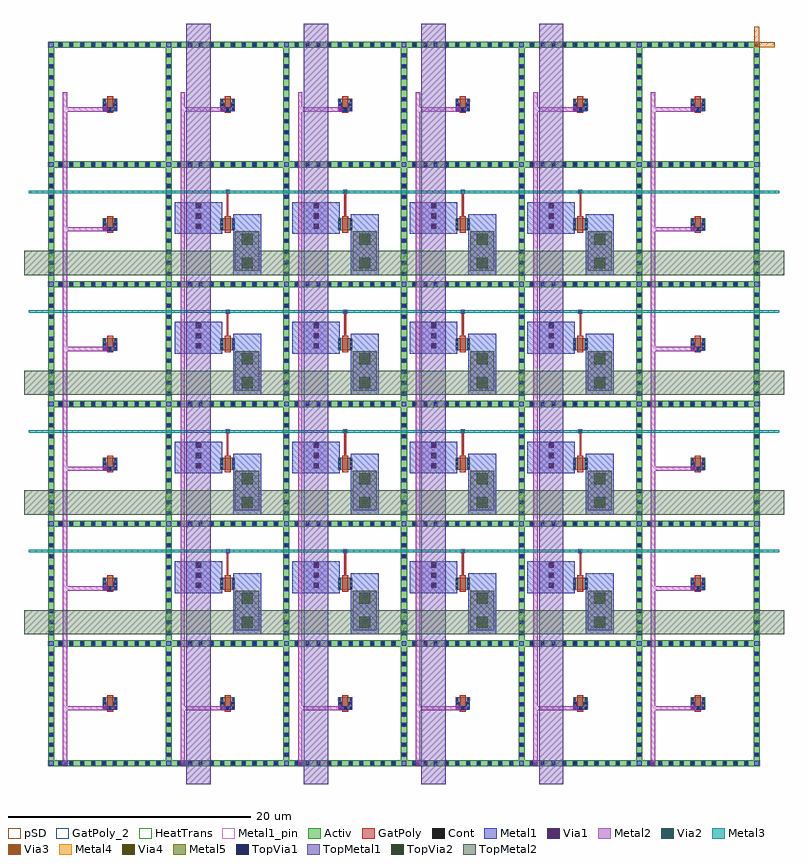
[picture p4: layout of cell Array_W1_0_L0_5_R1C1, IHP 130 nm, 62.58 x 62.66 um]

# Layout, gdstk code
import gdstk
lib = gdstk.Library(unit=1e-6, precision=1e-09)
def R(c, l, rs):  # rectangles x0, y0, x1, y1
    for r in rs: c.add(gdstk.rectangle(r[:2], r[2:], *l))
def A(c, l, x, y, w, h, nx, ny, dx, dy):  # array of equal rectangles
    R(c, l, [(x+i*dx, y+j*dy, x+i*dx+w, y+j*dy+h) for i in range(nx) for j in range(ny)])
Activ = (1, 0)
GatPoly = (5, 0)
GatPoly_2 = (5, 2)
Cont = (6, 0)
Metal1 = (8, 0)
Metal1_pin = (8, 2)
Metal2 = (10, 0)
pSD = (14, 0)
Via1 = (19, 0)
Via2 = (29, 0)
Metal3 = (30, 0)
Via3 = (49, 0)
Metal4 = (50, 0)
HeatTrans = (51, 0)
Via4 = (66, 0)
Metal5 = (67, 0)
TopVia1 = (125, 0)
TopMetal1 = (126, 0)
TopVia2 = (133, 0)
TopMetal2 = (134, 0)

array_w1_0_l0_5_r1c1 = lib.new_cell('Array_W1_0_L0_5_R1C1')
A(array_w1_0_l0_5_r1c1, Activ, 0, 0, 0.5, 59.66, 7, 1, 9.68, 0)
A(array_w1_0_l0_5_r1c1, Activ, 0, 0, 58.58, 0.5, 1, 7, 0, 9.86)
A(array_w1_0_l0_5_r1c1, Activ, 4.5, 4.68, 0.3, 0.3, 1, 6, 0, 9.86)
A(array_w1_0_l0_5_r1c1, Activ, 4.5, 4.68, 1.18, 1, 6, 6, 9.68, 9.86)
A(array_w1_0_l0_5_r1c1, Activ, 5.38, 4.68, 0.3, 0.3, 1, 6, 0, 9.86)
A(array_w1_0_l0_5_r1c1, Activ, 14.18, 4.68, 0.3, 0.3, 1, 6, 0, 9.86)
A(array_w1_0_l0_5_r1c1, Activ, 15.06, 4.68, 0.3, 0.3, 1, 6, 0, 9.86)
A(array_w1_0_l0_5_r1c1, Activ, 23.86, 4.68, 0.3, 0.3, 1, 6, 0, 9.86)
A(array_w1_0_l0_5_r1c1, Activ, 24.74, 4.68, 0.3, 0.3, 1, 6, 0, 9.86)
A(array_w1_0_l0_5_r1c1, Activ, 33.54, 4.68, 0.3, 0.3, 1, 6, 0, 9.86)
A(array_w1_0_l0_5_r1c1, Activ, 34.42, 4.68, 0.3, 0.3, 1, 6, 0, 9.86)
A(array_w1_0_l0_5_r1c1, Activ, 43.22, 4.68, 0.3, 0.3, 1, 6, 0, 9.86)
A(array_w1_0_l0_5_r1c1, Activ, 44.1, 4.68, 0.3, 0.3, 1, 6, 0, 9.86)
A(array_w1_0_l0_5_r1c1, Activ, 52.9, 4.68, 0.3, 0.3, 1, 6, 0, 9.86)
A(array_w1_0_l0_5_r1c1, Activ, 53.78, 4.68, 0.3, 0.3, 1, 6, 0, 9.86)
A(array_w1_0_l0_5_r1c1, GatPoly, 4.84, 4.5, 0.5, 1.36, 6, 6, 9.68, 9.86)
A(array_w1_0_l0_5_r1c1, GatPoly, 5.025, 4.78, 0.13, 0.2, 6, 2, 9.68, 49.3)
A(array_w1_0_l0_5_r1c1, GatPoly, 5.025, 14.64, 0.13, 0.2, 1, 4, 0, 9.86)
A(array_w1_0_l0_5_r1c1, GatPoly, 53.425, 14.64, 0.13, 0.2, 1, 4, 0, 9.86)
A(array_w1_0_l0_5_r1c1, GatPoly, 14.705, 15.72, 0.13, 2, 4, 4, 9.68, 9.86)
A(array_w1_0_l0_5_r1c1, GatPoly_2, 4.84, 4.5, 0.5, 1.36, 6, 6, 9.68, 9.86)
A(array_w1_0_l0_5_r1c1, Cont, 0.896, 0.14, 0.22, 0.22, 10, 7, 0.896, 9.86)
A(array_w1_0_l0_5_r1c1, Cont, 10.68, 0.14, 0.22, 0.22, 3, 7, 0.884, 9.86)
A(array_w1_0_l0_5_r1c1, Cont, 13.333, 0.14, 0.22, 0.22, 1, 7, 0, 9.86)
A(array_w1_0_l0_5_r1c1, Cont, 14.217, 0.14, 0.22, 0.22, 1, 7, 0, 9.86)
A(array_w1_0_l0_5_r1c1, Cont, 15.102, 0.14, 0.22, 0.22, 1, 7, 0, 9.86)
A(array_w1_0_l0_5_r1c1, Cont, 15.986, 0.14, 0.22, 0.22, 1, 7, 0, 9.86)
A(array_w1_0_l0_5_r1c1, Cont, 16.871, 0.14, 0.22, 0.22, 1, 7, 0, 9.86)
A(array_w1_0_l0_5_r1c1, Cont, 17.755, 0.14, 0.22, 0.22, 1, 7, 0, 9.86)
A(array_w1_0_l0_5_r1c1, Cont, 18.64, 0.14, 0.22, 0.22, 1, 7, 0, 9.86)
A(array_w1_0_l0_5_r1c1, Cont, 20.36, 0.14, 0.22, 0.22, 3, 7, 0.884, 9.86)
A(array_w1_0_l0_5_r1c1, Cont, 23.013, 0.14, 0.22, 0.22, 1, 7, 0, 9.86)
A(array_w1_0_l0_5_r1c1, Cont, 23.897, 0.14, 0.22, 0.22, 1, 7, 0, 9.86)
A(array_w1_0_l0_5_r1c1, Cont, 24.782, 0.14, 0.22, 0.22, 1, 7, 0, 9.86)
A(array_w1_0_l0_5_r1c1, Cont, 25.666, 0.14, 0.22, 0.22, 1, 7, 0, 9.86)
A(array_w1_0_l0_5_r1c1, Cont, 26.551, 0.14, 0.22, 0.22, 1, 7, 0, 9.86)
A(array_w1_0_l0_5_r1c1, Cont, 27.435, 0.14, 0.22, 0.22, 1, 7, 0, 9.86)
A(array_w1_0_l0_5_r1c1, Cont, 28.32, 0.14, 0.22, 0.22, 1, 7, 0, 9.86)
A(array_w1_0_l0_5_r1c1, Cont, 30.04, 0.14, 0.22, 0.22, 3, 7, 0.884, 9.86)
A(array_w1_0_l0_5_r1c1, Cont, 32.693, 0.14, 0.22, 0.22, 1, 7, 0, 9.86)
A(array_w1_0_l0_5_r1c1, Cont, 33.577, 0.14, 0.22, 0.22, 1, 7, 0, 9.86)
A(array_w1_0_l0_5_r1c1, Cont, 34.462, 0.14, 0.22, 0.22, 1, 7, 0, 9.86)
A(array_w1_0_l0_5_r1c1, Cont, 35.346, 0.14, 0.22, 0.22, 1, 7, 0, 9.86)
A(array_w1_0_l0_5_r1c1, Cont, 36.231, 0.14, 0.22, 0.22, 1, 7, 0, 9.86)
A(array_w1_0_l0_5_r1c1, Cont, 37.115, 0.14, 0.22, 0.22, 1, 7, 0, 9.86)
A(array_w1_0_l0_5_r1c1, Cont, 38, 0.14, 0.22, 0.22, 1, 7, 0, 9.86)
A(array_w1_0_l0_5_r1c1, Cont, 39.72, 0.14, 0.22, 0.22, 3, 7, 0.884, 9.86)
A(array_w1_0_l0_5_r1c1, Cont, 42.373, 0.14, 0.22, 0.22, 1, 7, 0, 9.86)
A(array_w1_0_l0_5_r1c1, Cont, 43.257, 0.14, 0.22, 0.22, 1, 7, 0, 9.86)
A(array_w1_0_l0_5_r1c1, Cont, 44.142, 0.14, 0.22, 0.22, 1, 7, 0, 9.86)
A(array_w1_0_l0_5_r1c1, Cont, 45.026, 0.14, 0.22, 0.22, 1, 7, 0, 9.86)
A(array_w1_0_l0_5_r1c1, Cont, 45.911, 0.14, 0.22, 0.22, 1, 7, 0, 9.86)
A(array_w1_0_l0_5_r1c1, Cont, 46.795, 0.14, 0.22, 0.22, 1, 7, 0, 9.86)
A(array_w1_0_l0_5_r1c1, Cont, 47.68, 0.14, 0.22, 0.22, 1, 7, 0, 9.86)
A(array_w1_0_l0_5_r1c1, Cont, 49.4, 0.14, 0.22, 0.22, 3, 7, 0.884, 9.86)
A(array_w1_0_l0_5_r1c1, Cont, 52.053, 0.14, 0.22, 0.22, 1, 7, 0, 9.86)
A(array_w1_0_l0_5_r1c1, Cont, 52.937, 0.14, 0.22, 0.22, 1, 7, 0, 9.86)
A(array_w1_0_l0_5_r1c1, Cont, 53.822, 0.14, 0.22, 0.22, 1, 7, 0, 9.86)
A(array_w1_0_l0_5_r1c1, Cont, 54.706, 0.14, 0.22, 0.22, 1, 7, 0, 9.86)
A(array_w1_0_l0_5_r1c1, Cont, 55.591, 0.14, 0.22, 0.22, 1, 7, 0, 9.86)
A(array_w1_0_l0_5_r1c1, Cont, 56.475, 0.14, 0.22, 0.22, 1, 7, 0, 9.86)
A(array_w1_0_l0_5_r1c1, Cont, 57.36, 0.14, 0.22, 0.22, 1, 7, 0, 9.86)
A(array_w1_0_l0_5_r1c1, Cont, 0.14, 0.83, 0.22, 0.22, 7, 11, 9.68, 0.831)
A(array_w1_0_l0_5_r1c1, Cont, 4.98, 4.67, 0.22, 0.22, 6, 2, 9.68, 49.3)
A(array_w1_0_l0_5_r1c1, Cont, 4.57, 4.75, 0.16, 0.16, 1, 3, 0, 0.35)
A(array_w1_0_l0_5_r1c1, Cont, 5.45, 4.75, 0.16, 0.16, 1, 3, 0, 0.35)
A(array_w1_0_l0_5_r1c1, Cont, 14.25, 4.75, 0.16, 0.16, 1, 3, 0, 0.35)
A(array_w1_0_l0_5_r1c1, Cont, 15.13, 4.75, 0.16, 0.16, 1, 3, 0, 0.35)
A(array_w1_0_l0_5_r1c1, Cont, 23.93, 4.75, 0.16, 0.16, 1, 3, 0, 0.35)
A(array_w1_0_l0_5_r1c1, Cont, 24.81, 4.75, 0.16, 0.16, 1, 3, 0, 0.35)
A(array_w1_0_l0_5_r1c1, Cont, 33.61, 4.75, 0.16, 0.16, 1, 3, 0, 0.35)
A(array_w1_0_l0_5_r1c1, Cont, 34.49, 4.75, 0.16, 0.16, 1, 3, 0, 0.35)
A(array_w1_0_l0_5_r1c1, Cont, 43.29, 4.75, 0.16, 0.16, 1, 3, 0, 0.35)
A(array_w1_0_l0_5_r1c1, Cont, 44.17, 4.75, 0.16, 0.16, 1, 3, 0, 0.35)
A(array_w1_0_l0_5_r1c1, Cont, 52.97, 4.75, 0.16, 0.16, 1, 3, 0, 0.35)
A(array_w1_0_l0_5_r1c1, Cont, 53.85, 4.75, 0.16, 0.16, 1, 3, 0, 0.35)
A(array_w1_0_l0_5_r1c1, Cont, 0.14, 10.86, 0.22, 0.22, 7, 3, 9.68, 0.904)
A(array_w1_0_l0_5_r1c1, Cont, 0.14, 13.573, 0.22, 0.22, 7, 2, 9.68, 0.904)
A(array_w1_0_l0_5_r1c1, Cont, 4.98, 14.53, 0.22, 0.22, 1, 4, 0, 9.86)
A(array_w1_0_l0_5_r1c1, Cont, 53.38, 14.53, 0.22, 0.22, 1, 4, 0, 9.86)
A(array_w1_0_l0_5_r1c1, Cont, 4.57, 14.61, 0.16, 0.16, 1, 3, 0, 0.35)
A(array_w1_0_l0_5_r1c1, Cont, 5.45, 14.61, 0.16, 0.16, 1, 3, 0, 0.35)
A(array_w1_0_l0_5_r1c1, Cont, 14.25, 14.61, 0.16, 0.16, 1, 3, 0, 0.35)
A(array_w1_0_l0_5_r1c1, Cont, 15.13, 14.61, 0.16, 0.16, 1, 3, 0, 0.35)
A(array_w1_0_l0_5_r1c1, Cont, 23.93, 14.61, 0.16, 0.16, 1, 3, 0, 0.35)
A(array_w1_0_l0_5_r1c1, Cont, 24.81, 14.61, 0.16, 0.16, 1, 3, 0, 0.35)
A(array_w1_0_l0_5_r1c1, Cont, 33.61, 14.61, 0.16, 0.16, 1, 3, 0, 0.35)
A(array_w1_0_l0_5_r1c1, Cont, 34.49, 14.61, 0.16, 0.16, 1, 3, 0, 0.35)
A(array_w1_0_l0_5_r1c1, Cont, 43.29, 14.61, 0.16, 0.16, 1, 3, 0, 0.35)
A(array_w1_0_l0_5_r1c1, Cont, 44.17, 14.61, 0.16, 0.16, 1, 3, 0, 0.35)
A(array_w1_0_l0_5_r1c1, Cont, 52.97, 14.61, 0.16, 0.16, 1, 3, 0, 0.35)
A(array_w1_0_l0_5_r1c1, Cont, 53.85, 14.61, 0.16, 0.16, 1, 3, 0, 0.35)
A(array_w1_0_l0_5_r1c1, Cont, 0.14, 15.382, 0.22, 0.22, 7, 2, 9.68, 0.904)
A(array_w1_0_l0_5_r1c1, Cont, 0.14, 17.191, 0.22, 0.22, 7, 2, 9.68, 0.904)
A(array_w1_0_l0_5_r1c1, Cont, 14.66, 17.61, 0.22, 0.22, 4, 4, 9.68, 9.86)
A(array_w1_0_l0_5_r1c1, Cont, 0.14, 19, 0.22, 0.22, 7, 2, 9.68, 1.72)
A(array_w1_0_l0_5_r1c1, Cont, 0.14, 21.624, 0.22, 0.22, 7, 2, 9.68, 0.904)
A(array_w1_0_l0_5_r1c1, Cont, 0.14, 23.433, 0.22, 0.22, 7, 2, 9.68, 0.904)
A(array_w1_0_l0_5_r1c1, Cont, 4.57, 24.47, 0.16, 0.16, 1, 3, 0, 0.35)
A(array_w1_0_l0_5_r1c1, Cont, 5.45, 24.47, 0.16, 0.16, 1, 3, 0, 0.35)
A(array_w1_0_l0_5_r1c1, Cont, 14.25, 24.47, 0.16, 0.16, 1, 3, 0, 0.35)
A(array_w1_0_l0_5_r1c1, Cont, 15.13, 24.47, 0.16, 0.16, 1, 3, 0, 0.35)
A(array_w1_0_l0_5_r1c1, Cont, 23.93, 24.47, 0.16, 0.16, 1, 3, 0, 0.35)
A(array_w1_0_l0_5_r1c1, Cont, 24.81, 24.47, 0.16, 0.16, 1, 3, 0, 0.35)
A(array_w1_0_l0_5_r1c1, Cont, 33.61, 24.47, 0.16, 0.16, 1, 3, 0, 0.35)
A(array_w1_0_l0_5_r1c1, Cont, 34.49, 24.47, 0.16, 0.16, 1, 3, 0, 0.35)
A(array_w1_0_l0_5_r1c1, Cont, 43.29, 24.47, 0.16, 0.16, 1, 3, 0, 0.35)
A(array_w1_0_l0_5_r1c1, Cont, 44.17, 24.47, 0.16, 0.16, 1, 3, 0, 0.35)
A(array_w1_0_l0_5_r1c1, Cont, 52.97, 24.47, 0.16, 0.16, 1, 3, 0, 0.35)
A(array_w1_0_l0_5_r1c1, Cont, 53.85, 24.47, 0.16, 0.16, 1, 3, 0, 0.35)
A(array_w1_0_l0_5_r1c1, Cont, 0.14, 25.242, 0.22, 0.22, 7, 2, 9.68, 0.904)
A(array_w1_0_l0_5_r1c1, Cont, 0.14, 27.051, 0.22, 0.22, 7, 2, 9.68, 0.904)
A(array_w1_0_l0_5_r1c1, Cont, 0.14, 28.86, 0.22, 0.22, 7, 2, 9.68, 1.72)
A(array_w1_0_l0_5_r1c1, Cont, 0.14, 31.484, 0.22, 0.22, 7, 2, 9.68, 0.904)
A(array_w1_0_l0_5_r1c1, Cont, 0.14, 33.293, 0.22, 0.22, 7, 2, 9.68, 0.904)
A(array_w1_0_l0_5_r1c1, Cont, 4.57, 34.33, 0.16, 0.16, 1, 3, 0, 0.35)
A(array_w1_0_l0_5_r1c1, Cont, 5.45, 34.33, 0.16, 0.16, 1, 3, 0, 0.35)
A(array_w1_0_l0_5_r1c1, Cont, 14.25, 34.33, 0.16, 0.16, 1, 3, 0, 0.35)
A(array_w1_0_l0_5_r1c1, Cont, 15.13, 34.33, 0.16, 0.16, 1, 3, 0, 0.35)
A(array_w1_0_l0_5_r1c1, Cont, 23.93, 34.33, 0.16, 0.16, 1, 3, 0, 0.35)
A(array_w1_0_l0_5_r1c1, Cont, 24.81, 34.33, 0.16, 0.16, 1, 3, 0, 0.35)
A(array_w1_0_l0_5_r1c1, Cont, 33.61, 34.33, 0.16, 0.16, 1, 3, 0, 0.35)
A(array_w1_0_l0_5_r1c1, Cont, 34.49, 34.33, 0.16, 0.16, 1, 3, 0, 0.35)
A(array_w1_0_l0_5_r1c1, Cont, 43.29, 34.33, 0.16, 0.16, 1, 3, 0, 0.35)
A(array_w1_0_l0_5_r1c1, Cont, 44.17, 34.33, 0.16, 0.16, 1, 3, 0, 0.35)
A(array_w1_0_l0_5_r1c1, Cont, 52.97, 34.33, 0.16, 0.16, 1, 3, 0, 0.35)
A(array_w1_0_l0_5_r1c1, Cont, 53.85, 34.33, 0.16, 0.16, 1, 3, 0, 0.35)
A(array_w1_0_l0_5_r1c1, Cont, 0.14, 35.102, 0.22, 0.22, 7, 2, 9.68, 0.904)
A(array_w1_0_l0_5_r1c1, Cont, 0.14, 36.911, 0.22, 0.22, 7, 2, 9.68, 0.904)
A(array_w1_0_l0_5_r1c1, Cont, 0.14, 38.72, 0.22, 0.22, 7, 2, 9.68, 1.72)
A(array_w1_0_l0_5_r1c1, Cont, 0.14, 41.344, 0.22, 0.22, 7, 2, 9.68, 0.904)
A(array_w1_0_l0_5_r1c1, Cont, 0.14, 43.153, 0.22, 0.22, 7, 2, 9.68, 0.904)
A(array_w1_0_l0_5_r1c1, Cont, 4.57, 44.19, 0.16, 0.16, 1, 3, 0, 0.35)
A(array_w1_0_l0_5_r1c1, Cont, 5.45, 44.19, 0.16, 0.16, 1, 3, 0, 0.35)
A(array_w1_0_l0_5_r1c1, Cont, 14.25, 44.19, 0.16, 0.16, 1, 3, 0, 0.35)
A(array_w1_0_l0_5_r1c1, Cont, 15.13, 44.19, 0.16, 0.16, 1, 3, 0, 0.35)
A(array_w1_0_l0_5_r1c1, Cont, 23.93, 44.19, 0.16, 0.16, 1, 3, 0, 0.35)
A(array_w1_0_l0_5_r1c1, Cont, 24.81, 44.19, 0.16, 0.16, 1, 3, 0, 0.35)
A(array_w1_0_l0_5_r1c1, Cont, 33.61, 44.19, 0.16, 0.16, 1, 3, 0, 0.35)
A(array_w1_0_l0_5_r1c1, Cont, 34.49, 44.19, 0.16, 0.16, 1, 3, 0, 0.35)
A(array_w1_0_l0_5_r1c1, Cont, 43.29, 44.19, 0.16, 0.16, 1, 3, 0, 0.35)
A(array_w1_0_l0_5_r1c1, Cont, 44.17, 44.19, 0.16, 0.16, 1, 3, 0, 0.35)
A(array_w1_0_l0_5_r1c1, Cont, 52.97, 44.19, 0.16, 0.16, 1, 3, 0, 0.35)
A(array_w1_0_l0_5_r1c1, Cont, 53.85, 44.19, 0.16, 0.16, 1, 3, 0, 0.35)
A(array_w1_0_l0_5_r1c1, Cont, 0.14, 44.962, 0.22, 0.22, 7, 2, 9.68, 0.904)
A(array_w1_0_l0_5_r1c1, Cont, 0.14, 46.771, 0.22, 0.22, 7, 2, 9.68, 0.904)
A(array_w1_0_l0_5_r1c1, Cont, 0.14, 48.58, 0.22, 0.22, 7, 2, 9.68, 1.72)
A(array_w1_0_l0_5_r1c1, Cont, 0.14, 51.204, 0.22, 0.22, 7, 2, 9.68, 0.904)
A(array_w1_0_l0_5_r1c1, Cont, 0.14, 53.013, 0.22, 0.22, 7, 2, 9.68, 0.904)
A(array_w1_0_l0_5_r1c1, Cont, 4.57, 54.05, 0.16, 0.16, 1, 3, 0, 0.35)
A(array_w1_0_l0_5_r1c1, Cont, 5.45, 54.05, 0.16, 0.16, 1, 3, 0, 0.35)
A(array_w1_0_l0_5_r1c1, Cont, 14.25, 54.05, 0.16, 0.16, 1, 3, 0, 0.35)
A(array_w1_0_l0_5_r1c1, Cont, 15.13, 54.05, 0.16, 0.16, 1, 3, 0, 0.35)
A(array_w1_0_l0_5_r1c1, Cont, 23.93, 54.05, 0.16, 0.16, 1, 3, 0, 0.35)
A(array_w1_0_l0_5_r1c1, Cont, 24.81, 54.05, 0.16, 0.16, 1, 3, 0, 0.35)
A(array_w1_0_l0_5_r1c1, Cont, 33.61, 54.05, 0.16, 0.16, 1, 3, 0, 0.35)
A(array_w1_0_l0_5_r1c1, Cont, 34.49, 54.05, 0.16, 0.16, 1, 3, 0, 0.35)
A(array_w1_0_l0_5_r1c1, Cont, 43.29, 54.05, 0.16, 0.16, 1, 3, 0, 0.35)
A(array_w1_0_l0_5_r1c1, Cont, 44.17, 54.05, 0.16, 0.16, 1, 3, 0, 0.35)
A(array_w1_0_l0_5_r1c1, Cont, 52.97, 54.05, 0.16, 0.16, 1, 3, 0, 0.35)
A(array_w1_0_l0_5_r1c1, Cont, 53.85, 54.05, 0.16, 0.16, 1, 3, 0, 0.35)
A(array_w1_0_l0_5_r1c1, Cont, 0.14, 54.822, 0.22, 0.22, 7, 2, 9.68, 0.904)
A(array_w1_0_l0_5_r1c1, Cont, 0.14, 56.631, 0.22, 0.22, 7, 2, 9.68, 0.904)
A(array_w1_0_l0_5_r1c1, Cont, 0.14, 58.44, 0.22, 0.22, 7, 1, 9.68, 0)
A(array_w1_0_l0_5_r1c1, Metal1, 0.836, 0.08, 0.34, 0.34, 10, 7, 0.896, 9.86)
A(array_w1_0_l0_5_r1c1, Metal1, 10.62, 0.08, 0.34, 0.34, 3, 7, 0.884, 9.86)
A(array_w1_0_l0_5_r1c1, Metal1, 13.273, 0.08, 0.34, 0.34, 1, 7, 0, 9.86)
A(array_w1_0_l0_5_r1c1, Metal1, 14.157, 0.08, 0.34, 0.34, 1, 7, 0, 9.86)
A(array_w1_0_l0_5_r1c1, Metal1, 15.042, 0.08, 0.34, 0.34, 1, 7, 0, 9.86)
A(array_w1_0_l0_5_r1c1, Metal1, 15.926, 0.08, 0.34, 0.34, 1, 7, 0, 9.86)
A(array_w1_0_l0_5_r1c1, Metal1, 16.811, 0.08, 0.34, 0.34, 1, 7, 0, 9.86)
A(array_w1_0_l0_5_r1c1, Metal1, 17.695, 0.08, 0.34, 0.34, 1, 7, 0, 9.86)
A(array_w1_0_l0_5_r1c1, Metal1, 18.58, 0.08, 0.34, 0.34, 1, 7, 0, 9.86)
A(array_w1_0_l0_5_r1c1, Metal1, 20.3, 0.08, 0.34, 0.34, 3, 7, 0.884, 9.86)
A(array_w1_0_l0_5_r1c1, Metal1, 22.953, 0.08, 0.34, 0.34, 1, 7, 0, 9.86)
A(array_w1_0_l0_5_r1c1, Metal1, 23.837, 0.08, 0.34, 0.34, 1, 7, 0, 9.86)
A(array_w1_0_l0_5_r1c1, Metal1, 24.722, 0.08, 0.34, 0.34, 1, 7, 0, 9.86)
A(array_w1_0_l0_5_r1c1, Metal1, 25.606, 0.08, 0.34, 0.34, 1, 7, 0, 9.86)
A(array_w1_0_l0_5_r1c1, Metal1, 26.491, 0.08, 0.34, 0.34, 1, 7, 0, 9.86)
A(array_w1_0_l0_5_r1c1, Metal1, 27.375, 0.08, 0.34, 0.34, 1, 7, 0, 9.86)
A(array_w1_0_l0_5_r1c1, Metal1, 28.26, 0.08, 0.34, 0.34, 1, 7, 0, 9.86)
A(array_w1_0_l0_5_r1c1, Metal1, 29.98, 0.08, 0.34, 0.34, 3, 7, 0.884, 9.86)
A(array_w1_0_l0_5_r1c1, Metal1, 32.633, 0.08, 0.34, 0.34, 1, 7, 0, 9.86)
A(array_w1_0_l0_5_r1c1, Metal1, 33.517, 0.08, 0.34, 0.34, 1, 7, 0, 9.86)
A(array_w1_0_l0_5_r1c1, Metal1, 34.402, 0.08, 0.34, 0.34, 1, 7, 0, 9.86)
A(array_w1_0_l0_5_r1c1, Metal1, 35.286, 0.08, 0.34, 0.34, 1, 7, 0, 9.86)
A(array_w1_0_l0_5_r1c1, Metal1, 36.171, 0.08, 0.34, 0.34, 1, 7, 0, 9.86)
A(array_w1_0_l0_5_r1c1, Metal1, 37.055, 0.08, 0.34, 0.34, 1, 7, 0, 9.86)
A(array_w1_0_l0_5_r1c1, Metal1, 37.94, 0.08, 0.34, 0.34, 1, 7, 0, 9.86)
A(array_w1_0_l0_5_r1c1, Metal1, 39.66, 0.08, 0.34, 0.34, 3, 7, 0.884, 9.86)
A(array_w1_0_l0_5_r1c1, Metal1, 42.313, 0.08, 0.34, 0.34, 1, 7, 0, 9.86)
A(array_w1_0_l0_5_r1c1, Metal1, 43.197, 0.08, 0.34, 0.34, 1, 7, 0, 9.86)
A(array_w1_0_l0_5_r1c1, Metal1, 44.082, 0.08, 0.34, 0.34, 1, 7, 0, 9.86)
A(array_w1_0_l0_5_r1c1, Metal1, 44.966, 0.08, 0.34, 0.34, 1, 7, 0, 9.86)
A(array_w1_0_l0_5_r1c1, Metal1, 45.851, 0.08, 0.34, 0.34, 1, 7, 0, 9.86)
A(array_w1_0_l0_5_r1c1, Metal1, 46.735, 0.08, 0.34, 0.34, 1, 7, 0, 9.86)
A(array_w1_0_l0_5_r1c1, Metal1, 47.62, 0.08, 0.34, 0.34, 1, 7, 0, 9.86)
A(array_w1_0_l0_5_r1c1, Metal1, 49.34, 0.08, 0.34, 0.34, 3, 7, 0.884, 9.86)
A(array_w1_0_l0_5_r1c1, Metal1, 51.993, 0.08, 0.34, 0.34, 1, 7, 0, 9.86)
A(array_w1_0_l0_5_r1c1, Metal1, 52.877, 0.08, 0.34, 0.34, 1, 7, 0, 9.86)
A(array_w1_0_l0_5_r1c1, Metal1, 53.762, 0.08, 0.34, 0.34, 1, 7, 0, 9.86)
A(array_w1_0_l0_5_r1c1, Metal1, 54.646, 0.08, 0.34, 0.34, 1, 7, 0, 9.86)
A(array_w1_0_l0_5_r1c1, Metal1, 55.531, 0.08, 0.34, 0.34, 1, 7, 0, 9.86)
A(array_w1_0_l0_5_r1c1, Metal1, 56.415, 0.08, 0.34, 0.34, 1, 7, 0, 9.86)
A(array_w1_0_l0_5_r1c1, Metal1, 57.3, 0.08, 0.34, 0.34, 1, 7, 0, 9.86)
A(array_w1_0_l0_5_r1c1, Metal1, 0.08, 0.77, 0.34, 0.34, 7, 11, 9.68, 0.831)
A(array_w1_0_l0_5_r1c1, Metal1, 4.92, 4.61, 0.34, 0.34, 6, 2, 9.68, 49.3)
A(array_w1_0_l0_5_r1c1, Metal1, 4.51, 4.64, 0.28, 0.68, 1, 6, 0, 9.86)
A(array_w1_0_l0_5_r1c1, Metal1, 4.51, 4.64, 1.16, 0.28, 6, 2, 9.68, 49.3)
A(array_w1_0_l0_5_r1c1, Metal1, 5.39, 4.64, 0.28, 0.68, 1, 6, 0, 9.86)
A(array_w1_0_l0_5_r1c1, Metal1, 52.91, 4.64, 0.28, 0.68, 1, 6, 0, 9.86)
A(array_w1_0_l0_5_r1c1, Metal1, 53.79, 4.64, 0.28, 0.68, 1, 6, 0, 9.86)
A(array_w1_0_l0_5_r1c1, Metal1, 4.57, 4.68, 0.16, 1, 1, 6, 0, 9.86)
A(array_w1_0_l0_5_r1c1, Metal1, 5.45, 4.68, 0.16, 1, 1, 6, 0, 9.86)
A(array_w1_0_l0_5_r1c1, Metal1, 14.25, 4.68, 0.16, 1, 1, 6, 0, 9.86)
A(array_w1_0_l0_5_r1c1, Metal1, 15.13, 4.68, 0.16, 1, 1, 6, 0, 9.86)
A(array_w1_0_l0_5_r1c1, Metal1, 23.93, 4.68, 0.16, 1, 1, 6, 0, 9.86)
A(array_w1_0_l0_5_r1c1, Metal1, 24.81, 4.68, 0.16, 1, 1, 6, 0, 9.86)
A(array_w1_0_l0_5_r1c1, Metal1, 33.61, 4.68, 0.16, 1, 1, 6, 0, 9.86)
A(array_w1_0_l0_5_r1c1, Metal1, 34.49, 4.68, 0.16, 1, 1, 6, 0, 9.86)
A(array_w1_0_l0_5_r1c1, Metal1, 43.29, 4.68, 0.16, 1, 1, 6, 0, 9.86)
A(array_w1_0_l0_5_r1c1, Metal1, 44.17, 4.68, 0.16, 1, 1, 6, 0, 9.86)
A(array_w1_0_l0_5_r1c1, Metal1, 52.97, 4.68, 0.16, 1, 1, 6, 0, 9.86)
A(array_w1_0_l0_5_r1c1, Metal1, 53.85, 4.68, 0.16, 1, 1, 6, 0, 9.86)
A(array_w1_0_l0_5_r1c1, Metal1, 0.05, 9.91, 0.4, 0.4, 7, 6, 9.68, 9.86)
A(array_w1_0_l0_5_r1c1, Metal1, 0.08, 10.8, 0.34, 0.34, 7, 3, 9.68, 0.904)
A(array_w1_0_l0_5_r1c1, Metal1, 15.21, 10.86, 2.32, 5.02, 4, 4, 9.68, 9.86)
A(array_w1_0_l0_5_r1c1, Metal1, 0.08, 13.513, 0.34, 0.34, 7, 2, 9.68, 0.904)
A(array_w1_0_l0_5_r1c1, Metal1, 10.41, 14.26, 3.92, 2.61, 4, 4, 9.68, 9.86)
A(array_w1_0_l0_5_r1c1, Metal1, 4.92, 14.47, 0.34, 0.34, 1, 4, 0, 9.86)
A(array_w1_0_l0_5_r1c1, Metal1, 53.32, 14.47, 0.34, 0.34, 1, 4, 0, 9.86)
A(array_w1_0_l0_5_r1c1, Metal1, 4.51, 14.5, 1.16, 0.28, 1, 4, 0, 9.86)
A(array_w1_0_l0_5_r1c1, Metal1, 52.91, 14.5, 1.16, 0.28, 1, 4, 0, 9.86)
A(array_w1_0_l0_5_r1c1, Metal1, 0.08, 15.322, 0.34, 0.34, 7, 2, 9.68, 0.904)
A(array_w1_0_l0_5_r1c1, Metal1, 0.08, 17.131, 0.34, 0.34, 7, 2, 9.68, 0.904)
A(array_w1_0_l0_5_r1c1, Metal1, 14.61, 17.56, 0.32, 0.32, 4, 4, 9.68, 9.86)
A(array_w1_0_l0_5_r1c1, Metal1, 0.08, 18.94, 0.34, 0.34, 7, 2, 9.68, 1.72)
A(array_w1_0_l0_5_r1c1, Metal1, 0.08, 21.564, 0.34, 0.34, 7, 2, 9.68, 0.904)
A(array_w1_0_l0_5_r1c1, Metal1, 0.08, 23.373, 0.34, 0.34, 7, 2, 9.68, 0.904)
A(array_w1_0_l0_5_r1c1, Metal1, 0.08, 25.182, 0.34, 0.34, 7, 2, 9.68, 0.904)
A(array_w1_0_l0_5_r1c1, Metal1, 0.08, 26.991, 0.34, 0.34, 7, 2, 9.68, 0.904)
A(array_w1_0_l0_5_r1c1, Metal1, 0.08, 28.8, 0.34, 0.34, 7, 2, 9.68, 1.72)
A(array_w1_0_l0_5_r1c1, Metal1, 0.08, 31.424, 0.34, 0.34, 7, 2, 9.68, 0.904)
A(array_w1_0_l0_5_r1c1, Metal1, 0.08, 33.233, 0.34, 0.34, 7, 2, 9.68, 0.904)
A(array_w1_0_l0_5_r1c1, Metal1, 0.08, 35.042, 0.34, 0.34, 7, 2, 9.68, 0.904)
A(array_w1_0_l0_5_r1c1, Metal1, 0.08, 36.851, 0.34, 0.34, 7, 2, 9.68, 0.904)
A(array_w1_0_l0_5_r1c1, Metal1, 0.08, 38.66, 0.34, 0.34, 7, 2, 9.68, 1.72)
A(array_w1_0_l0_5_r1c1, Metal1, 0.08, 41.284, 0.34, 0.34, 7, 2, 9.68, 0.904)
A(array_w1_0_l0_5_r1c1, Metal1, 0.08, 43.093, 0.34, 0.34, 7, 2, 9.68, 0.904)
A(array_w1_0_l0_5_r1c1, Metal1, 0.08, 44.902, 0.34, 0.34, 7, 2, 9.68, 0.904)
A(array_w1_0_l0_5_r1c1, Metal1, 0.08, 46.711, 0.34, 0.34, 7, 2, 9.68, 0.904)
A(array_w1_0_l0_5_r1c1, Metal1, 0.08, 48.52, 0.34, 0.34, 7, 2, 9.68, 1.72)
A(array_w1_0_l0_5_r1c1, Metal1, 0.08, 51.144, 0.34, 0.34, 7, 2, 9.68, 0.904)
A(array_w1_0_l0_5_r1c1, Metal1, 0.08, 52.953, 0.34, 0.34, 7, 2, 9.68, 0.904)
A(array_w1_0_l0_5_r1c1, Metal1, 0.08, 54.762, 0.34, 0.34, 7, 2, 9.68, 0.904)
A(array_w1_0_l0_5_r1c1, Metal1, 0.08, 56.571, 0.34, 0.34, 7, 2, 9.68, 0.904)
A(array_w1_0_l0_5_r1c1, Metal1, 0.08, 58.38, 0.34, 0.34, 7, 1, 9.68, 0)
R(array_w1_0_l0_5_r1c1, Metal1, [(0.05,0.05,0.45,0.45), (1.19,0.05,1.59,0.45), (9.73,0.05,10.13,0.45), (10.87,0.05,11.27,0.45), (19.41,0.05,19.81,0.45), (20.55,0.05,20.95,0.45), (29.09,0.05,29.49,0.45), (30.23,0.05,30.63,0.45), (38.77,0.05,39.17,0.45), (39.91,0.05,40.31,0.45), (48.45,0.05,48.85,0.45), (49.59,0.05,49.99,0.45), (58.13,0.05,58.53,0.45), (14.19,4.64,14.47,5.32), (15.07,4.64,15.35,5.32), (23.87,4.64,24.15,5.32), (24.75,4.64,25.03,5.32), (33.55,4.64,33.83,5.32), (34.43,4.64,34.71,5.32), (43.23,4.64,43.51,5.32), (44.11,4.64,44.39,5.32), (14.19,53.94,14.47,54.62), (15.07,53.94,15.35,54.62), (23.87,53.94,24.15,54.62), (24.75,53.94,25.03,54.62), (33.55,53.94,33.83,54.62), (34.43,53.94,34.71,54.62), (43.23,53.94,43.51,54.62), (44.11,53.94,44.39,54.62)])
A(array_w1_0_l0_5_r1c1, Metal1_pin, 4.57, 4.68, 0.16, 1, 1, 6, 0, 9.86)
A(array_w1_0_l0_5_r1c1, Metal1_pin, 5.45, 4.68, 0.16, 1, 1, 6, 0, 9.86)
A(array_w1_0_l0_5_r1c1, Metal1_pin, 14.25, 4.68, 0.16, 1, 1, 6, 0, 9.86)
A(array_w1_0_l0_5_r1c1, Metal1_pin, 15.13, 4.68, 0.16, 1, 1, 6, 0, 9.86)
A(array_w1_0_l0_5_r1c1, Metal1_pin, 23.93, 4.68, 0.16, 1, 1, 6, 0, 9.86)
A(array_w1_0_l0_5_r1c1, Metal1_pin, 24.81, 4.68, 0.16, 1, 1, 6, 0, 9.86)
A(array_w1_0_l0_5_r1c1, Metal1_pin, 33.61, 4.68, 0.16, 1, 1, 6, 0, 9.86)
A(array_w1_0_l0_5_r1c1, Metal1_pin, 34.49, 4.68, 0.16, 1, 1, 6, 0, 9.86)
A(array_w1_0_l0_5_r1c1, Metal1_pin, 43.29, 4.68, 0.16, 1, 1, 6, 0, 9.86)
A(array_w1_0_l0_5_r1c1, Metal1_pin, 44.17, 4.68, 0.16, 1, 1, 6, 0, 9.86)
A(array_w1_0_l0_5_r1c1, Metal1_pin, 52.97, 4.68, 0.16, 1, 1, 6, 0, 9.86)
A(array_w1_0_l0_5_r1c1, Metal1_pin, 53.85, 4.68, 0.16, 1, 1, 6, 0, 9.86)
A(array_w1_0_l0_5_r1c1, Metal2, 1.21, 0.07, 0.36, 55.41, 6, 1, 9.68, 0)
A(array_w1_0_l0_5_r1c1, Metal2, 1.21, 4.6, 3.62, 0.36, 6, 2, 9.68, 49.3)
A(array_w1_0_l0_5_r1c1, Metal2, 16.215, 11.705, 0.31, 0.31, 4, 2, 9.68, 1.96)
A(array_w1_0_l0_5_r1c1, Metal2, 1.21, 14.46, 3.62, 0.36, 1, 4, 0, 9.86)
A(array_w1_0_l0_5_r1c1, Metal2, 49.61, 14.46, 3.62, 0.36, 1, 4, 0, 9.86)
A(array_w1_0_l0_5_r1c1, Metal2, 12.215, 14.735, 0.31, 0.31, 4, 3, 9.68, 0.84)
A(array_w1_0_l0_5_r1c1, Metal2, 14.625, 17.575, 0.29, 0.29, 4, 4, 9.68, 9.86)
A(array_w1_0_l0_5_r1c1, Metal2, 16.215, 21.565, 0.31, 0.31, 4, 2, 9.68, 1.96)
A(array_w1_0_l0_5_r1c1, Metal2, 12.215, 24.595, 0.31, 0.31, 4, 3, 9.68, 0.84)
A(array_w1_0_l0_5_r1c1, Metal2, 16.215, 31.425, 0.31, 0.31, 4, 2, 9.68, 1.96)
A(array_w1_0_l0_5_r1c1, Metal2, 12.215, 34.455, 0.31, 0.31, 4, 3, 9.68, 0.84)
A(array_w1_0_l0_5_r1c1, Metal2, 16.215, 41.285, 0.31, 0.31, 4, 2, 9.68, 1.96)
A(array_w1_0_l0_5_r1c1, Metal2, 12.215, 44.315, 0.31, 0.31, 4, 3, 9.68, 0.84)
R(array_w1_0_l0_5_r1c1, Metal2, [(58.15,59.23,58.51,59.59)])
A(array_w1_0_l0_5_r1c1, pSD, 0, 0, 0.5, 59.66, 7, 1, 9.68, 0)
A(array_w1_0_l0_5_r1c1, pSD, 0, 0, 58.58, 0.5, 1, 7, 0, 9.86)
A(array_w1_0_l0_5_r1c1, Via1, 1.295, 0.155, 0.19, 0.19, 6, 1, 9.68, 0)
A(array_w1_0_l0_5_r1c1, Via1, 4.555, 4.685, 0.19, 0.19, 6, 2, 9.68, 49.3)
A(array_w1_0_l0_5_r1c1, Via1, 16.275, 11.765, 0.19, 0.19, 4, 2, 9.68, 1.96)
A(array_w1_0_l0_5_r1c1, Via1, 4.555, 14.545, 0.19, 0.19, 1, 4, 0, 9.86)
A(array_w1_0_l0_5_r1c1, Via1, 52.955, 14.545, 0.19, 0.19, 1, 4, 0, 9.86)
A(array_w1_0_l0_5_r1c1, Via1, 12.275, 14.795, 0.19, 0.19, 4, 3, 9.68, 0.84)
A(array_w1_0_l0_5_r1c1, Via1, 14.675, 17.625, 0.19, 0.19, 4, 4, 9.68, 9.86)
A(array_w1_0_l0_5_r1c1, Via1, 16.275, 21.625, 0.19, 0.19, 4, 2, 9.68, 1.96)
A(array_w1_0_l0_5_r1c1, Via1, 12.275, 24.655, 0.19, 0.19, 4, 3, 9.68, 0.84)
A(array_w1_0_l0_5_r1c1, Via1, 16.275, 31.485, 0.19, 0.19, 4, 2, 9.68, 1.96)
A(array_w1_0_l0_5_r1c1, Via1, 12.275, 34.515, 0.19, 0.19, 4, 3, 9.68, 0.84)
A(array_w1_0_l0_5_r1c1, Via1, 16.275, 41.345, 0.19, 0.19, 4, 2, 9.68, 1.96)
A(array_w1_0_l0_5_r1c1, Via1, 12.275, 44.375, 0.19, 0.19, 4, 3, 9.68, 0.84)
R(array_w1_0_l0_5_r1c1, Via1, [(58.235,59.315,58.425,59.505)])
A(array_w1_0_l0_5_r1c1, Via2, 16.275, 11.765, 0.19, 0.19, 4, 2, 9.68, 1.96)
A(array_w1_0_l0_5_r1c1, Via2, 12.275, 14.795, 0.19, 0.19, 4, 3, 9.68, 0.84)
A(array_w1_0_l0_5_r1c1, Via2, 14.675, 17.625, 0.19, 0.19, 4, 4, 9.68, 9.86)
A(array_w1_0_l0_5_r1c1, Via2, 16.275, 21.625, 0.19, 0.19, 4, 2, 9.68, 1.96)
A(array_w1_0_l0_5_r1c1, Via2, 12.275, 24.655, 0.19, 0.19, 4, 3, 9.68, 0.84)
A(array_w1_0_l0_5_r1c1, Via2, 16.275, 31.485, 0.19, 0.19, 4, 2, 9.68, 1.96)
A(array_w1_0_l0_5_r1c1, Via2, 12.275, 34.515, 0.19, 0.19, 4, 3, 9.68, 0.84)
A(array_w1_0_l0_5_r1c1, Via2, 16.275, 41.345, 0.19, 0.19, 4, 2, 9.68, 1.96)
A(array_w1_0_l0_5_r1c1, Via2, 12.275, 44.375, 0.19, 0.19, 4, 3, 9.68, 0.84)
R(array_w1_0_l0_5_r1c1, Via2, [(58.235,59.315,58.425,59.505)])
A(array_w1_0_l0_5_r1c1, Metal3, 16.215, 11.705, 0.31, 0.31, 4, 2, 9.68, 1.96)
A(array_w1_0_l0_5_r1c1, Metal3, 12.215, 14.735, 0.31, 0.31, 4, 3, 9.68, 0.84)
A(array_w1_0_l0_5_r1c1, Metal3, -1.6, 17.62, 61.78, 0.2, 1, 4, 0, 9.86)
A(array_w1_0_l0_5_r1c1, Metal3, 14.67, 17.62, 0.2, 0.2, 4, 4, 9.68, 9.86)
A(array_w1_0_l0_5_r1c1, Metal3, 16.215, 21.565, 0.31, 0.31, 4, 2, 9.68, 1.96)
A(array_w1_0_l0_5_r1c1, Metal3, 12.215, 24.595, 0.31, 0.31, 4, 3, 9.68, 0.84)
A(array_w1_0_l0_5_r1c1, Metal3, 16.215, 31.425, 0.31, 0.31, 4, 2, 9.68, 1.96)
A(array_w1_0_l0_5_r1c1, Metal3, 12.215, 34.455, 0.31, 0.31, 4, 3, 9.68, 0.84)
A(array_w1_0_l0_5_r1c1, Metal3, 16.215, 41.285, 0.31, 0.31, 4, 2, 9.68, 1.96)
A(array_w1_0_l0_5_r1c1, Metal3, 12.215, 44.315, 0.31, 0.31, 4, 3, 9.68, 0.84)
R(array_w1_0_l0_5_r1c1, Metal3, [(58.23,59.31,58.43,59.51)])
A(array_w1_0_l0_5_r1c1, Via3, 16.275, 11.765, 0.19, 0.19, 4, 2, 9.68, 1.96)
A(array_w1_0_l0_5_r1c1, Via3, 12.275, 14.795, 0.19, 0.19, 4, 3, 9.68, 0.84)
A(array_w1_0_l0_5_r1c1, Via3, 16.275, 21.625, 0.19, 0.19, 4, 2, 9.68, 1.96)
A(array_w1_0_l0_5_r1c1, Via3, 12.275, 24.655, 0.19, 0.19, 4, 3, 9.68, 0.84)
A(array_w1_0_l0_5_r1c1, Via3, 16.275, 31.485, 0.19, 0.19, 4, 2, 9.68, 1.96)
A(array_w1_0_l0_5_r1c1, Via3, 12.275, 34.515, 0.19, 0.19, 4, 3, 9.68, 0.84)
A(array_w1_0_l0_5_r1c1, Via3, 16.275, 41.345, 0.19, 0.19, 4, 2, 9.68, 1.96)
A(array_w1_0_l0_5_r1c1, Via3, 12.275, 44.375, 0.19, 0.19, 4, 3, 9.68, 0.84)
R(array_w1_0_l0_5_r1c1, Via3, [(58.235,59.315,58.425,59.505)])
A(array_w1_0_l0_5_r1c1, Metal4, 16.215, 11.705, 0.31, 0.31, 4, 2, 9.68, 1.96)
A(array_w1_0_l0_5_r1c1, Metal4, 12.215, 14.735, 0.31, 0.31, 4, 3, 9.68, 0.84)
A(array_w1_0_l0_5_r1c1, Metal4, 16.215, 21.565, 0.31, 0.31, 4, 2, 9.68, 1.96)
A(array_w1_0_l0_5_r1c1, Metal4, 12.215, 24.595, 0.31, 0.31, 4, 3, 9.68, 0.84)
A(array_w1_0_l0_5_r1c1, Metal4, 16.215, 31.425, 0.31, 0.31, 4, 2, 9.68, 1.96)
A(array_w1_0_l0_5_r1c1, Metal4, 12.215, 34.455, 0.31, 0.31, 4, 3, 9.68, 0.84)
A(array_w1_0_l0_5_r1c1, Metal4, 16.215, 41.285, 0.31, 0.31, 4, 2, 9.68, 1.96)
A(array_w1_0_l0_5_r1c1, Metal4, 12.215, 44.315, 0.31, 0.31, 4, 3, 9.68, 0.84)
R(array_w1_0_l0_5_r1c1, Metal4, [(58.13,59.21,59.83,59.61), (58.13,59.21,58.53,60.91)])
A(array_w1_0_l0_5_r1c1, HeatTrans, 4.84, 4.5, 0.5, 1.36, 6, 6, 9.68, 9.86)
A(array_w1_0_l0_5_r1c1, Via4, 16.275, 11.765, 0.19, 0.19, 4, 2, 9.68, 1.96)
A(array_w1_0_l0_5_r1c1, Via4, 12.275, 14.795, 0.19, 0.19, 4, 3, 9.68, 0.84)
A(array_w1_0_l0_5_r1c1, Via4, 16.275, 21.625, 0.19, 0.19, 4, 2, 9.68, 1.96)
A(array_w1_0_l0_5_r1c1, Via4, 12.275, 24.655, 0.19, 0.19, 4, 3, 9.68, 0.84)
A(array_w1_0_l0_5_r1c1, Via4, 16.275, 31.485, 0.19, 0.19, 4, 2, 9.68, 1.96)
A(array_w1_0_l0_5_r1c1, Via4, 12.275, 34.515, 0.19, 0.19, 4, 3, 9.68, 0.84)
A(array_w1_0_l0_5_r1c1, Via4, 16.275, 41.345, 0.19, 0.19, 4, 2, 9.68, 1.96)
A(array_w1_0_l0_5_r1c1, Via4, 12.275, 44.375, 0.19, 0.19, 4, 3, 9.68, 0.84)
A(array_w1_0_l0_5_r1c1, Metal5, 16.215, 11.705, 0.31, 0.31, 4, 2, 9.68, 1.96)
A(array_w1_0_l0_5_r1c1, Metal5, 12.215, 14.735, 0.31, 0.31, 4, 3, 9.68, 0.84)
A(array_w1_0_l0_5_r1c1, Metal5, 16.215, 21.565, 0.31, 0.31, 4, 2, 9.68, 1.96)
A(array_w1_0_l0_5_r1c1, Metal5, 12.215, 24.595, 0.31, 0.31, 4, 3, 9.68, 0.84)
A(array_w1_0_l0_5_r1c1, Metal5, 16.215, 31.425, 0.31, 0.31, 4, 2, 9.68, 1.96)
A(array_w1_0_l0_5_r1c1, Metal5, 12.215, 34.455, 0.31, 0.31, 4, 3, 9.68, 0.84)
A(array_w1_0_l0_5_r1c1, Metal5, 16.215, 41.285, 0.31, 0.31, 4, 2, 9.68, 1.96)
A(array_w1_0_l0_5_r1c1, Metal5, 12.215, 44.315, 0.31, 0.31, 4, 3, 9.68, 0.84)
A(array_w1_0_l0_5_r1c1, TopVia1, 16.16, 11.65, 0.42, 0.42, 4, 2, 9.68, 1.96)
A(array_w1_0_l0_5_r1c1, TopVia1, 12.16, 14.68, 0.42, 0.42, 4, 3, 9.68, 0.84)
A(array_w1_0_l0_5_r1c1, TopVia1, 16.16, 21.51, 0.42, 0.42, 4, 2, 9.68, 1.96)
A(array_w1_0_l0_5_r1c1, TopVia1, 12.16, 24.54, 0.42, 0.42, 4, 3, 9.68, 0.84)
A(array_w1_0_l0_5_r1c1, TopVia1, 16.16, 31.37, 0.42, 0.42, 4, 2, 9.68, 1.96)
A(array_w1_0_l0_5_r1c1, TopVia1, 12.16, 34.4, 0.42, 0.42, 4, 3, 9.68, 0.84)
A(array_w1_0_l0_5_r1c1, TopVia1, 16.16, 41.23, 0.42, 0.42, 4, 2, 9.68, 1.96)
A(array_w1_0_l0_5_r1c1, TopVia1, 12.16, 44.26, 0.42, 0.42, 4, 3, 9.68, 0.84)
A(array_w1_0_l0_5_r1c1, TopMetal1, 11.37, -1.5, 2, 62.66, 4, 1, 9.68, 0)
A(array_w1_0_l0_5_r1c1, TopMetal1, 15.37, 11.21, 2, 3.26, 4, 4, 9.68, 9.86)
A(array_w1_0_l0_5_r1c1, TopMetal1, 11.37, 14.58, 2, 2.3, 4, 4, 9.68, 9.86)
A(array_w1_0_l0_5_r1c1, TopVia2, 15.92, 11.41, 0.9, 0.9, 4, 2, 9.68, 1.96)
A(array_w1_0_l0_5_r1c1, TopVia2, 15.92, 21.27, 0.9, 0.9, 4, 2, 9.68, 1.96)
A(array_w1_0_l0_5_r1c1, TopVia2, 15.92, 31.13, 0.9, 0.9, 4, 2, 9.68, 1.96)
A(array_w1_0_l0_5_r1c1, TopVia2, 15.92, 40.99, 0.9, 0.9, 4, 2, 9.68, 1.96)
A(array_w1_0_l0_5_r1c1, TopMetal2, -2, 10.86, 62.58, 2, 1, 4, 0, 9.86)
A(array_w1_0_l0_5_r1c1, TopMetal2, 15.37, 11.21, 2, 3.26, 4, 4, 9.68, 9.86)

lib.write_gds('Array_W1_0_L0_5_R1C1.gds')
